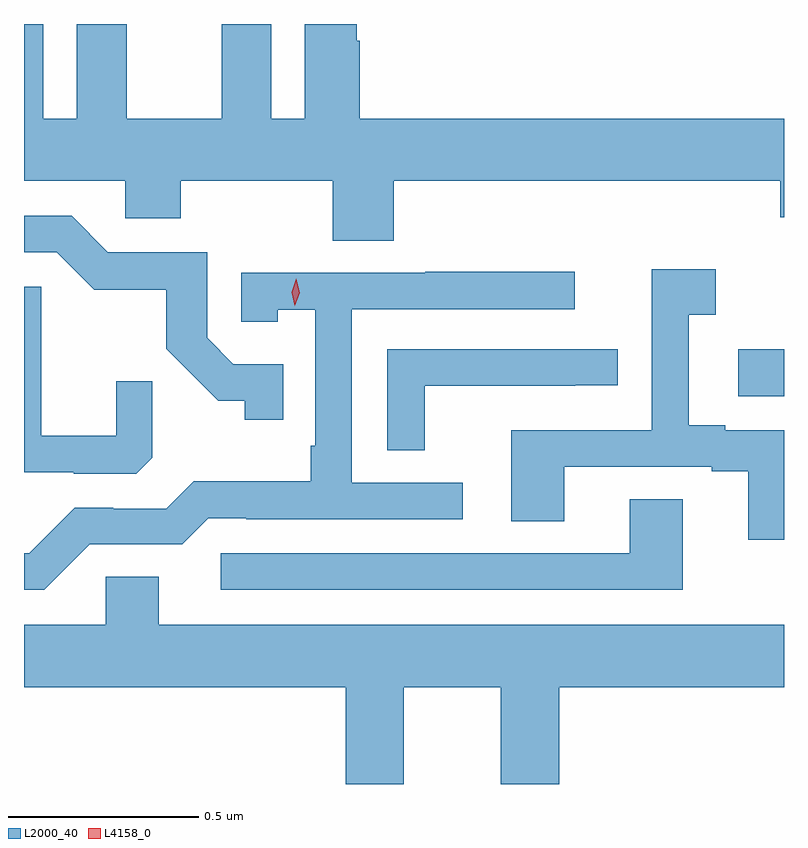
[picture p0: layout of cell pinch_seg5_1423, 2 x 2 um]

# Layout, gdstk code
import gdstk
lib = gdstk.Library(unit=1e-6, precision=1e-09)
def R(c, l, rs):  # rectangles x0, y0, x1, y1
    for r in rs: c.add(gdstk.rectangle(r[:2], r[2:], *l))
def P(c, l, *ps):  # polygons
    for p in ps: c.add(gdstk.Polygon(p, *l))
L2000_40 = (2000, 40)
L4158_0 = (4158, 0)

pinch_seg5_1423 = lib.new_cell('pinch_seg5_1423')
R(pinch_seg5_1423, L2000_40, [(200.697,896.153,200.817,896.277)])
P(pinch_seg5_1423, L2000_40, [(199.79,896.72),(200.807,896.72),(200.807,896.624),(200.817,896.624),(200.817,896.884),(199.7,896.884),(199.7,897.089),(199.693,897.089),(199.693,897.133),(199.556,897.133),(199.556,896.884),(199.468,896.884),(199.468,897.133),(199.337,897.133),(199.337,896.884),(199.087,896.884),(199.087,897.133),(198.956,897.133),(198.956,896.884),(198.868,896.884),(198.868,897.133),(198.817,897.133),(198.817,896.72),(199.083,896.72),(199.083,896.622),(199.23,896.622),(199.23,896.72),(199.63,896.72),(199.63,896.563),(199.79,896.563)],
  [(199.499,896.238),(199.368,896.238),(199.299,896.307),(199.299,896.532),(199.038,896.532),(198.942,896.628),(198.817,896.628),(198.817,896.532),(198.903,896.532),(199.002,896.434),(199.191,896.434),(199.191,896.278),(199.328,896.141),(199.398,896.141),(199.398,896.091),(199.499,896.091)],
  [(200.817,896.064),(200.662,896.064),(200.662,896.077),(200.566,896.077),(200.566,896.368),(200.638,896.368),(200.638,896.488),(200.469,896.488),(200.469,896.064),(200.099,896.064),(200.099,895.825),(200.239,895.825),(200.239,895.968),(200.627,895.968),(200.627,895.956),(200.723,895.956),(200.723,895.776),(200.817,895.776)],
  [(198.99,895.764),(199.233,895.764),(199.302,895.833),(199.402,895.833),(199.402,895.83),(199.972,895.83),(199.972,895.926),(199.68,895.926),(199.68,896.382),(200.266,896.382),(200.266,896.481),(199.873,896.481),(199.873,896.478),(199.389,896.478),(199.389,896.349),(199.485,896.349),(199.485,896.381),(199.584,896.381),(199.584,896.023),(199.572,896.023),(199.572,895.93),(199.264,895.93),(199.191,895.857),(199.052,895.857),(199.052,895.86),(198.951,895.86),(198.831,895.74),(198.817,895.74),(198.817,895.644),(198.87,895.644)],
  [(199.154,895.991),(199.154,896.193),(199.06,896.193),(199.06,896.05),(198.863,896.05),(198.863,896.442),(198.817,896.442),(198.817,895.953),(198.948,895.953),(198.948,895.95),(199.113,895.95)],
  [(199.872,896.181),(200.267,896.181),(200.267,896.182),(200.38,896.182),(200.38,896.277),(199.773,896.277),(199.773,896.011),(199.872,896.011)],
  [(200.551,895.883),(200.411,895.883),(200.411,895.74),(199.335,895.74),(199.335,895.644),(200.551,895.644)],
  [(199.816,895.388),(200.072,895.388),(200.072,895.133),(200.225,895.133),(200.225,895.388),(200.817,895.388),(200.817,895.552),(199.171,895.552),(199.171,895.679),(199.032,895.679),(199.032,895.552),(198.817,895.552),(198.817,895.388),(199.664,895.388),(199.664,895.133),(199.816,895.133)])
P(pinch_seg5_1423, L4158_0, [(199.53,896.391),(199.53,896.391),(199.521,896.427),(199.533,896.462),(199.533,896.462),(199.533,896.462),(199.542,896.426),(199.53,896.391)])

lib.write_gds('pinch_seg5_1423.gds')
